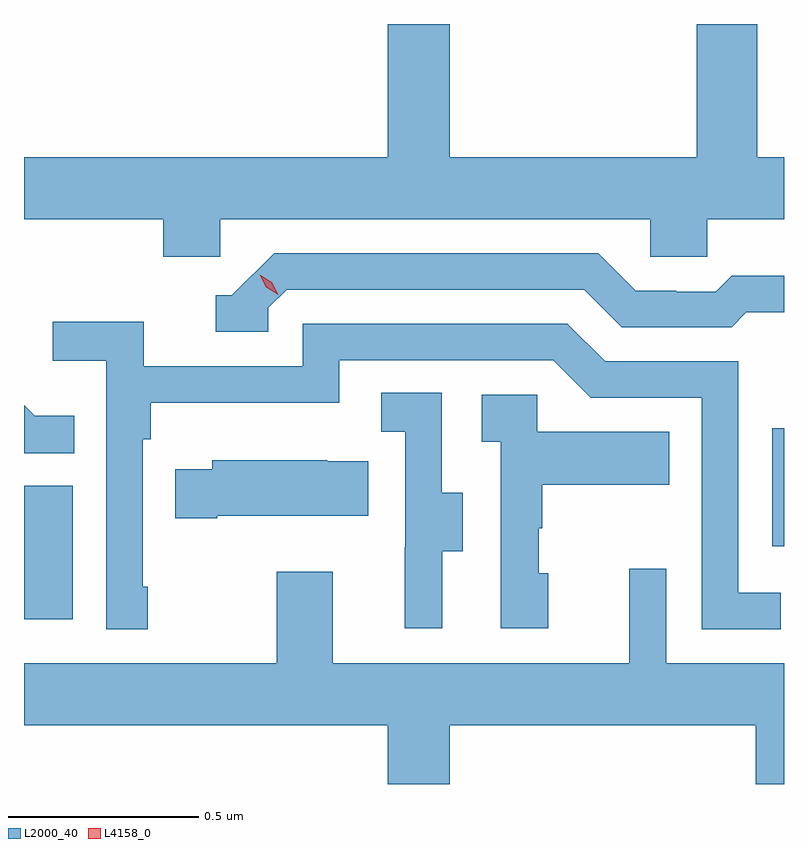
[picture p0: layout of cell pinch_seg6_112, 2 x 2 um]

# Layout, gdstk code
import gdstk
lib = gdstk.Library(unit=1e-6, precision=1e-09)
def R(c, l, rs):  # rectangles x0, y0, x1, y1
    for r in rs: c.add(gdstk.rectangle(r[:2], r[2:], *l))
def P(c, l, *ps):  # polygons
    for p in ps: c.add(gdstk.Polygon(p, *l))
L2000_40 = (2000, 40)
L4158_0 = (4158, 0)

pinch_seg6_112 = lib.new_cell('pinch_seg6_112')
R(pinch_seg6_112, L2000_40, [(907.307,920.976,907.435,921.327), (909.276,921.168,909.307,921.478)])
P(pinch_seg6_112, L2000_40, [(907.824,922.028),(908.955,922.028),(908.955,921.93),(909.105,921.93),(909.105,922.028),(909.307,922.028),(909.307,922.192),(909.237,922.192),(909.237,922.542),(909.077,922.542),(909.077,922.192),(908.428,922.192),(908.428,922.542),(908.264,922.542),(908.264,922.192),(907.307,922.192),(907.307,922.028),(907.673,922.028),(907.673,921.93),(907.824,921.93)],
  [(907.95,921.795),(907.998,921.843),(908.781,921.843),(908.88,921.744),(909.169,921.744),(909.208,921.783),(909.307,921.783),(909.307,921.88),(909.169,921.88),(909.127,921.837),(909.024,921.837),(909.024,921.84),(908.917,921.84),(908.818,921.939),(907.965,921.939),(907.854,921.828),(907.811,921.828),(907.811,921.732),(907.95,921.732)],
  [(907.633,921.061),(907.62,921.061),(907.62,921.449),(907.64,921.449),(907.64,921.545),(908.136,921.545),(908.136,921.657),(908.7,921.657),(908.799,921.558),(909.09,921.558),(909.09,920.949),(909.299,920.949),(909.299,921.045),(909.186,921.045),(909.186,921.654),(908.836,921.654),(908.737,921.753),(908.04,921.753),(908.04,921.642),(907.622,921.642),(907.622,921.758),(907.383,921.758),(907.383,921.656),(907.524,921.656),(907.524,920.949),(907.633,920.949)],
  [(908.407,921.154),(908.461,921.154),(908.461,921.309),(908.406,921.309),(908.406,921.572),(908.247,921.572),(908.247,921.469),(908.31,921.469),(908.31,921.165),(908.309,921.165),(908.309,920.952),(908.407,920.952)],
  [(908.686,921.096),(908.661,921.096),(908.661,921.215),(908.671,921.215),(908.671,921.329),(909.005,921.329),(909.005,921.469),(908.658,921.469),(908.658,921.567),(908.511,921.567),(908.511,921.443),(908.562,921.443),(908.562,920.952),(908.686,920.952)],
  [(907.439,921.511),(907.335,921.511),(907.307,921.539),(907.307,921.412),(907.439,921.412)],
  [(907.816,921.248),(908.213,921.248),(908.213,921.391),(908.105,921.391),(908.105,921.394),(907.803,921.394),(907.803,921.37),(907.705,921.37),(907.705,921.241),(907.816,921.241)],
  [(908.428,920.696),(909.233,920.696),(909.233,920.542),(909.307,920.542),(909.307,920.86),(908.997,920.86),(908.997,921.109),(908.9,921.109),(908.9,920.86),(908.119,920.86),(908.119,921.1),(907.972,921.1),(907.972,920.86),(907.307,920.86),(907.307,920.696),(908.264,920.696),(908.264,920.542),(908.428,920.542)])
P(pinch_seg6_112, L4158_0, [(907.976,921.83),(907.945,921.849),(907.928,921.882),(907.928,921.882),(907.928,921.882),(907.959,921.863),(907.976,921.83),(907.976,921.83)])

lib.write_gds('pinch_seg6_112.gds')
